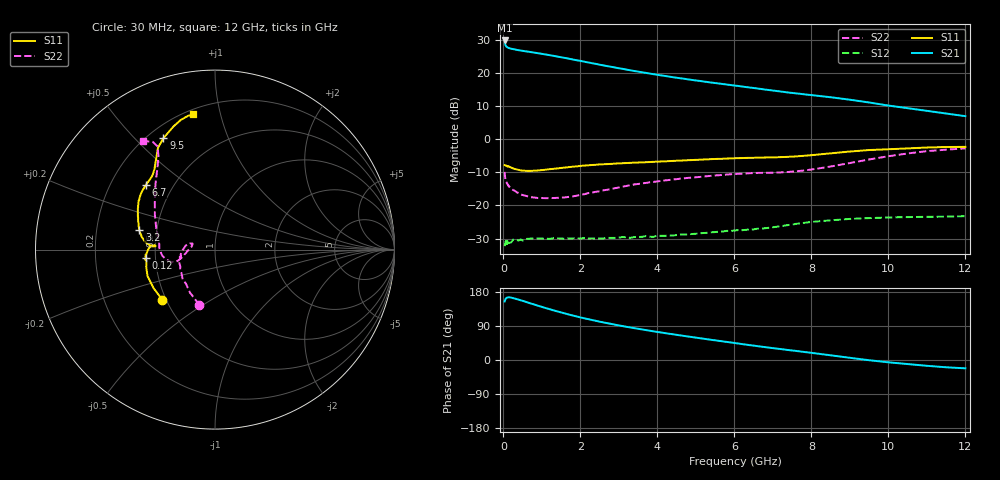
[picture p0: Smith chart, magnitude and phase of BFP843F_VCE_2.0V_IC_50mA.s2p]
! Infineon Technologies  Discrete & RF Semiconductors
! BFP843F
! VCE =  2.0 V,  IC =  50 mA
! Common Emitter S-Parameters:  Aug 2013
# GHz  S  MA  R  50
!  f  S11  S21  S12  S22
! GHz  MAG  ANG  MAG  ANG  MAG  ANG  MAG  ANG
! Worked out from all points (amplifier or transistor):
!   103 points, 30 MHz to 12 GHz, reference 50 ohm
!   highest |S21| = 29.7 dB at 30 MHz (marker M1)
!   |S21| within 3 dB of that: start of sweep to 427.7 MHz
!   unconditionally stable (mu >= 1): 79.86 MHz to end of sweep
!   at 400 MHz: K = 1.04, MAG = 27.4 dB, |S12| = -30.5 dB
!   at 3.7 GHz: K = 1.29, MAG = 21.3 dB, |S12| = -29.2 dB
!   at 12 GHz: K = 1.11, MAG = 13.0 dB, |S12| = -23.2 dB
!   S11 on the Smith chart (normalised r, x): 30 MHz: 0.48, -0.32; 120 MHz: 0.44, -0.05; 3.2 GHz: 0.40, +0.11; 6.7 GHz: 0.35, +0.35; 9.5 GHz: 0.26, +0.61; 12 GHz: 0.23, +0.83
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0.03  0.4053 -136.3  30.6 154.5  0.0244 29.5  0.3206 -105.7
0.04  0.4041 -147.6  27.9 156.9  0.0257 22.8  0.2773 -120.2
0.05  0.4023 -153.6  26.34 160.4  0.0269 21.9  0.2494 -130.5
0.06  0.404 -158.6  25.57 161.9  0.0291 16.3  0.2447 -137.5
0.08  0.395 -166.0  24.63 164.0  0.0261 8.2  0.2237 -150.4
0.12  0.3874 -173.1  23.81 165.3  0.0251 8.5  0.201 -164.5
0.2  0.3724 179.8  22.98 164.6  0.0277 9.9  0.181 -178.8
0.7  0.3321 176.5  20.48 149.5  0.0317 6.0  0.1334 165.1
1.1  0.347 177.1  18.81 137.0  0.0318 7.8  0.1289 166.6
1.3  0.3566 176.2  17.95 131.0  0.0322 8.1  0.1296 168.8
1.6  0.3731 175.3  16.69 122.7  0.0314 9.5  0.1323 173.6
2.1  0.3996 172.5  14.65 110.0  0.0324 10.5  0.1478 -179.1
2.6  0.4181 169.2  12.88 99.1  0.032 13.3  0.1695 -171.4
3.2  0.4361 165.2  11.13 87.5  0.033 17.5  0.1973 -165.8
4.1  0.4607 158.6  9.114 72.5  0.0349 20.9  0.2344 -163.1
5  0.4873 152.0  7.644 59.0  0.0375 25.7  0.2664 -166.5
6.1  0.5164 143.2  6.312 43.5  0.0427 29.2  0.2995 -175.5
6.7  0.5264 137.0  5.681 35.3  0.0449 30.8  0.3098 178.3
8.5  0.6103 122.3  4.271 12.4  0.0598 28.4  0.3864 150.1
9.5  0.6845 114.8  3.561 -0.6  0.0646 23.6  0.4936 132.2
10.5  0.7243 108.6  2.921 -10.7  0.0669 20.1  0.608 121.2
12  0.764 99.1  2.215 -22.0  0.069 19.2  0.7256 123.6
